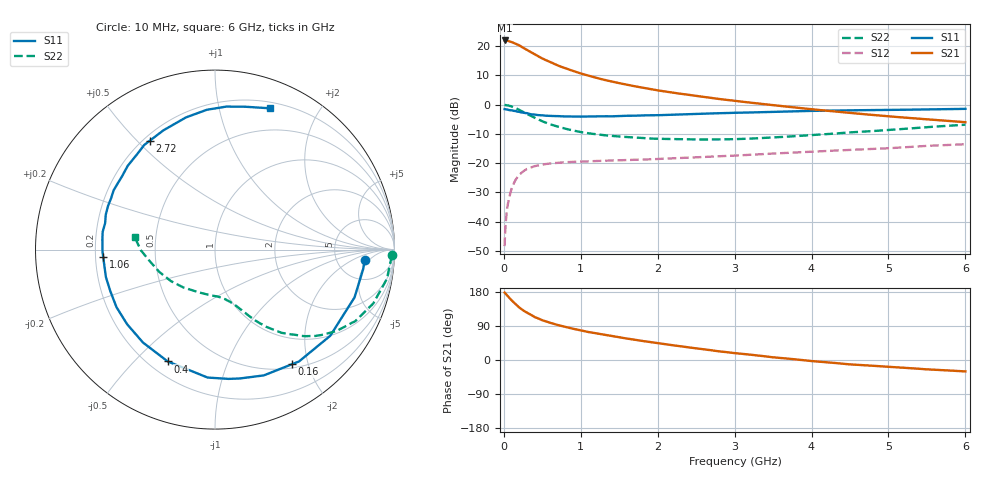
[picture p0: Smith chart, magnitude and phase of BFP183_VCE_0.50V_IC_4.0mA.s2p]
! Infineon Technologies  Discrete & RF Semiconductors
! BFP183
! VCE = 0.50V,  IC =  4.0 mA
! Common Emitter S-Parameters:  Jan 2016
# GHz  S  MA  R  50
!  f  S11  S21  S12  S22
! GHz  MAG  ANG  MAG  ANG  MAG  ANG  MAG  ANG
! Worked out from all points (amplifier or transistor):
!   210 points, 10 MHz to 6 GHz, reference 50 ohm
!   highest |S21| = 21.9 dB at 10 MHz (marker M1)
!   |S21| within 3 dB of that: start of sweep to 284.8 MHz
!   unconditionally stable (mu >= 1): 1.504 GHz to end of sweep
!   at 185 MHz: K = 0.16, MSG = 22.5 dB, |S12| = -24.5 dB
!   at 1.52 GHz: K = 1.01, MAG = 12.6 dB, |S12| = -19.0 dB
!   at 6 GHz: K = 1.17, MAG = 1.3 dB, |S12| = -13.6 dB
!   S11 on the Smith chart (normalised r, x): 10 MHz: 10, -4; 160 MHz: 0.56, -1.74; 400 MHz: 0.27, -0.63; 1.06 GHz: 0.23, -0.03; 2.72 GHz: 0.22, +0.55; 6 GHz: 0.26, +1.43
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0.01  0.8359 -3.9  12.48 177.9  0.0038 84.0  0.9878 -1.9
0.025  0.8286 -9.4  12.39 174.7  0.0097 85.1  0.9782 -4.8
0.05  0.8218 -18.9  12.35 168.6  0.0192 80.2  0.9719 -9.6
0.1  0.8018 -36.8  11.76 157.7  0.0361 70.1  0.9315 -18.8
0.15  0.7794 -53.1  11.03 147.7  0.0511 62.0  0.8781 -26.9
0.16  0.7693 -56.1  10.86 146.0  0.0535 60.4  0.8643 -28.2
0.2  0.7518 -68.8  10.29 138.6  0.0632 55.3  0.8142 -33.9
0.26  0.7243 -84.0  9.212 129.8  0.0734 48.1  0.739 -40.6
0.3  0.714 -93.3  8.614 124.8  0.0794 44.3  0.6934 -44.1
0.4  0.6766 -112.9  7.242 113.4  0.0886 36.9  0.5944 -51.3
0.5  0.6551 -127.8  6.129 104.9  0.0945 31.5  0.5167 -56.4
0.62  0.6394 -141.7  5.2 97.1  0.0991 27.3  0.4525 -60.5
0.8  0.6276 -158.3  4.171 87.0  0.1033 23.1  0.3865 -64.8
1.02  0.6226 -173.9  3.345 77.2  0.1061 20.3  0.3357 -69.2
1.06  0.6241 -176.4  3.23 75.6  0.1067 20.0  0.3293 -70.0
1.5  0.6389 162.3  2.324 59.8  0.1116 17.8  0.2841 -77.8
2.02  0.6593 141.8  1.733 44.0  0.1179 17.9  0.26 -88.7
2.72  0.7073 120.8  1.284 25.0  0.1292 17.9  0.2534 -107.4
3.1  0.7278 111.1  1.119 16.3  0.1364 17.5  0.2589 -118.6
4.1  0.7828 91.8  0.808 -4.4  0.1589 15.0  0.307 -147.5
5.1  0.8135 78.1  0.615 -19.2  0.1827 11.8  0.3759 -171.7
6  0.8453 68.6  0.5 -30.2  0.2101 5.7  0.4527 171.2
